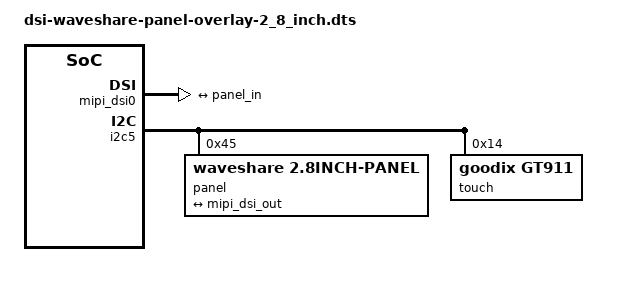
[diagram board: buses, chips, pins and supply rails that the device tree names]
/*
 * Device Tree overlay for Waveshare DSI Touchscreens
 *
 */

/dts-v1/;
/plugin/;

/ {
	fragment@0 {
		target = <&mipi_dsi0>;
		__overlay__ {

			status = "okay";

			ports {
				port@1 {
					reg = <1>;
					mipi_dsi_out: endpoint {
						remote-endpoint = <&panel_in>;
					};
				};
			};
		};
	};

	fragment@1 {
		target = <&i2c5>;
		__overlay__ {

			panel: panel_disp1@45 {
				reg = <0x45>;
				compatible = "waveshare,2.8inch-panel";

				port {
					panel_in: endpoint {
						remote-endpoint = <&mipi_dsi_out>;
					};
				};
			};

			touch: goodix@14 {
				reg = <0x14>;
				compatible = "goodix,gt911";
				touchscreen-size-x = <640>;
				touchscreen-size-y = <480>;
				touchscreen-inverted-y;
				touchscreen-swapped-x-y;
			};
		};
	};
};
